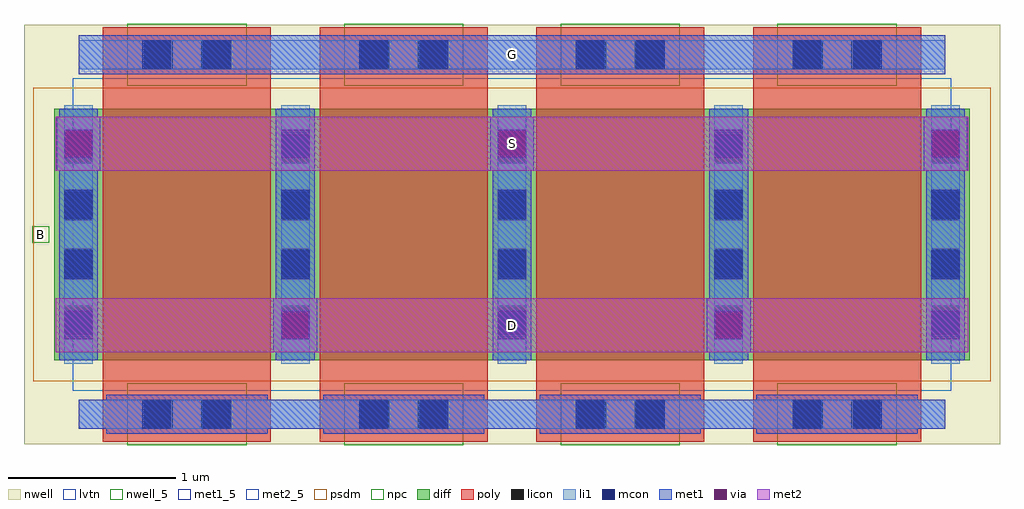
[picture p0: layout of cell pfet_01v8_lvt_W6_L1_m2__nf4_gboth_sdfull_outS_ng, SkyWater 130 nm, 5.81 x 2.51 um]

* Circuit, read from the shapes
.subckt pfet_01v8_lvt_W6_L1_m2__nf4_gboth_sdfull_outS_ng B D G S
XM1 D G S B sky130_fd_pr__pfet_01v8_lvt w=1.5 l=1 m=4
.ends

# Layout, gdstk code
import gdstk
lib = gdstk.Library(unit=1e-6, precision=1e-09)
def R(c, l, rs):  # rectangles x0, y0, x1, y1
    for r in rs: c.add(gdstk.rectangle(r[:2], r[2:], *l))
def A(c, l, x, y, w, h, nx, ny, dx, dy):  # array of equal rectangles
    R(c, l, [(x+i*dx, y+j*dy, x+i*dx+w, y+j*dy+h) for i in range(nx) for j in range(ny)])
nwell_5 = (64, 5)
nwell = (64, 20)
diff = (65, 20)
poly = (66, 20)
licon = (66, 44)
li1 = (67, 20)
mcon = (67, 44)
met1_5 = (68, 5)
met1 = (68, 20)
via = (68, 44)
met2_5 = (69, 5)
met2 = (69, 20)
psdm = (94, 20)
npc = (95, 20)
lvtn = (125, 44)

sky130_fd_pr__pfet_01v8_ = lib.new_cell('sky130_fd_pr__pfet_01v8_lvt_UW8TVS')
R(sky130_fd_pr__pfet_01v8_, nwell, [(-2.905,-1.25,2.905,1.25)])
R(sky130_fd_pr__pfet_01v8_, diff, [(-2.725,-0.75,2.725,0.75)])
A(sky130_fd_pr__pfet_01v8_, poly, -2.435, -1.235, 1, 2.47, 4, 1, 1.29, 0)
A(sky130_fd_pr__pfet_01v8_, licon, -2.665, -0.595, 0.17, 0.17, 5, 4, 1.29, 0.34)
R(sky130_fd_pr__pfet_01v8_, licon, [(-2.19,-1.155,-2.02,-0.985), (-1.85,-1.155,-1.68,-0.985), (-0.9,-1.155,-0.73,-0.985), (-0.56,-1.155,-0.39,-0.985), (0.39,-1.155,0.56,-0.985), (0.73,-1.155,0.9,-0.985), (1.68,-1.155,1.85,-0.985), (2.02,-1.155,2.19,-0.985), (-2.19,0.985,-2.02,1.155), (-1.85,0.985,-1.68,1.155), (-0.9,0.985,-0.73,1.155), (-0.56,0.985,-0.39,1.155), (0.39,0.985,0.56,1.155), (0.73,0.985,0.9,1.155), (1.68,0.985,1.85,1.155), (2.02,0.985,2.19,1.155)])
A(sky130_fd_pr__pfet_01v8_, li1, -2.665, -0.77, 0.17, 1.54, 5, 1, 1.29, 0)
R(sky130_fd_pr__pfet_01v8_, li1, [(-2.58,-1.155,2.58,-0.985), (-2.58,0.985,2.58,1.155)])
A(sky130_fd_pr__pfet_01v8_, mcon, -2.665, -0.625, 0.17, 0.17, 5, 4, 1.29, 0.36)
R(sky130_fd_pr__pfet_01v8_, mcon, [(-2.2,-1.155,-2.03,-0.985), (-1.84,-1.155,-1.67,-0.985), (-0.91,-1.155,-0.74,-0.985), (-0.55,-1.155,-0.38,-0.985), (0.38,-1.155,0.55,-0.985), (0.74,-1.155,0.91,-0.985), (1.67,-1.155,1.84,-0.985), (2.03,-1.155,2.2,-0.985), (-2.2,0.985,-2.03,1.155), (-1.84,0.985,-1.67,1.155), (-0.91,0.985,-0.74,1.155), (-0.55,0.985,-0.38,1.155), (0.38,0.985,0.55,1.155), (0.74,0.985,0.91,1.155), (1.67,0.985,1.84,1.155), (2.03,0.985,2.2,1.155)])
A(sky130_fd_pr__pfet_01v8_, met1, -2.415, -1.185, 0.96, 0.03, 4, 2, 1.29, 0.2)
A(sky130_fd_pr__pfet_01v8_, met1, -2.695, -0.75, 0.23, 1.5, 5, 1, 1.29, 0)
A(sky130_fd_pr__pfet_01v8_, met1, -2.415, 0.955, 0.96, 0.03, 4, 2, 1.29, 0.2)
R(sky130_fd_pr__pfet_01v8_, met1, [(-2.58,-1.155,2.58,-0.985), (-2.58,0.985,2.58,1.155)])
R(sky130_fd_pr__pfet_01v8_, psdm, [(-2.85,-0.875,2.85,0.875)])
A(sky130_fd_pr__pfet_01v8_, npc, -2.29, -1.255, 0.71, 0.37, 4, 2, 1.29, 2.14)
R(sky130_fd_pr__pfet_01v8_, lvtn, [(-2.615,-0.93,2.615,0.93)])
sky130_fd_pr__pfet_01v8_.add(gdstk.Label('D0', (-2.58,0), layer=67, texttype=5))
sky130_fd_pr__pfet_01v8_.add(gdstk.Label('G', (1.935,1.07), layer=67, texttype=5))
sky130_fd_pr__pfet_01v8_.add(gdstk.Label('G', (0.645,1.07), layer=67, texttype=5))
sky130_fd_pr__pfet_01v8_.add(gdstk.Label('G', (-0.645,1.07), layer=67, texttype=5))
sky130_fd_pr__pfet_01v8_.add(gdstk.Label('G', (-1.935,1.07), layer=67, texttype=5))
sky130_fd_pr__pfet_01v8_.add(gdstk.Label('S1', (-1.29,0), layer=67, texttype=5))
sky130_fd_pr__pfet_01v8_.add(gdstk.Label('D2', (0,0), layer=67, texttype=5))
sky130_fd_pr__pfet_01v8_.add(gdstk.Label('S3', (1.29,0), layer=67, texttype=5))

pfet_01v8_lvt_w6_l1_m2__ = lib.new_cell('pfet_01v8_lvt_W6_L1_m2__nf4_gboth_sdfull_outS_ng')
R(pfet_01v8_lvt_w6_l1_m2__, nwell_5, [(0.05,1.2,0.15,1.3)])
R(pfet_01v8_lvt_w6_l1_m2__, nwell, [(0.05,1.2,0.15,1.3)])
R(pfet_01v8_lvt_w6_l1_m2__, met1_5, [(0.325,2.205,5.485,2.435)])
A(pfet_01v8_lvt_w6_l1_m2__, met1, 0.195, 1.63, 0.26, 0.32, 3, 1, 2.58, 0)
R(pfet_01v8_lvt_w6_l1_m2__, met1, [(1.485,0.55,1.745,0.87), (4.065,0.55,4.325,0.87), (0.325,2.205,5.485,2.435)])
A(pfet_01v8_lvt_w6_l1_m2__, via, 0.25, 1.715, 0.15, 0.15, 3, 1, 2.58, 0)
R(pfet_01v8_lvt_w6_l1_m2__, via, [(1.54,0.635,1.69,0.785), (4.12,0.635,4.27,0.785)])
R(pfet_01v8_lvt_w6_l1_m2__, met2_5, [(0.19,0.55,5.62,0.87), (0.19,1.63,5.62,1.95)])
R(pfet_01v8_lvt_w6_l1_m2__, met2, [(0.19,0.55,5.62,0.87), (0.19,1.63,5.62,1.95)])
pfet_01v8_lvt_w6_l1_m2__.add(gdstk.Reference(sky130_fd_pr__pfet_01v8_, (2.905,1.25)))
pfet_01v8_lvt_w6_l1_m2__.add(gdstk.Label('S', (2.905,1.79), layer=69, texttype=5))
pfet_01v8_lvt_w6_l1_m2__.add(gdstk.Label('D', (2.905,0.71), layer=69, texttype=5))
pfet_01v8_lvt_w6_l1_m2__.add(gdstk.Label('G', (2.905,2.32), layer=68, texttype=5))
pfet_01v8_lvt_w6_l1_m2__.add(gdstk.Label('B', (0.1,1.25), layer=64, texttype=5))

lib.write_gds('pfet_01v8_lvt_W6_L1_m2__nf4_gboth_sdfull_outS_ng.gds')
